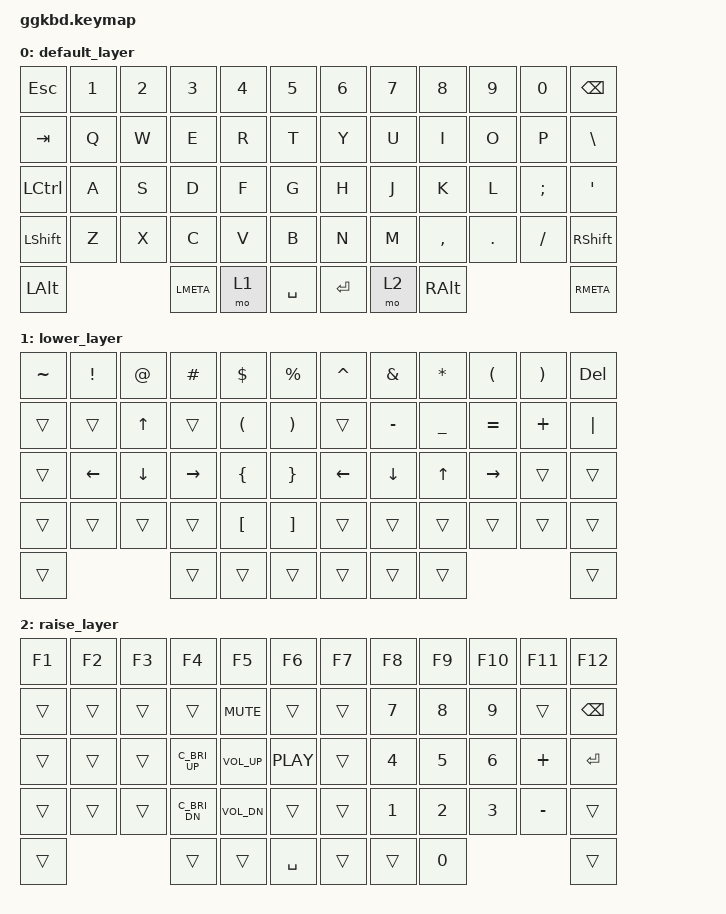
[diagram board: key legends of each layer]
#include <behaviors.dtsi>
#include <dt-bindings/zmk/keys.h>
#include <dt-bindings/zmk/bt.h>

/ {
    keymap {
        compatible = "zmk,keymap";

        default_layer {
            // -------------------------------------------------------------------------------------------------------------------------
            // |   ESC   |    1    |    2    |    3    |    4    |    5    |    6    |    7    |    8    |    9    |    0    |   BSPC  |
            // |   TAB   |    Q    |    W    |    E    |    R    |    T    |    Y    |    U    |    I    |    O    |    P    |    \    |
            // |  CTRL   |    A    |    S    |    D    |    F    |    G    |    H    |    J    |    K    |    L    |    ;    |    '    |
            // |  SHIFT  |    Z    |    X    |    C    |    V    |    B    |    N    |    M    |    ,    |    .    |    /    |  SHIFT  |
            // |   ALT   |                   |  SUPER  |  DOWN   |   SPC   |   RET   |   UP    |   ALT   |                   |  SUPER  |
            bindings = <
                &kp ESC   &kp N1    &kp N2    &kp N3    &kp N4    &kp N5    &kp N6    &kp N7    &kp N8    &kp N9    &kp N0    &kp BSPC
                &kp TAB   &kp Q     &kp W     &kp E     &kp R     &kp T     &kp Y     &kp U     &kp I     &kp O     &kp P     &kp BSLH
                &kp LCTRL &kp A     &kp S     &kp D     &kp F     &kp G     &kp H     &kp J     &kp K     &kp L     &kp SEMI  &kp APOS
                &kp LSHFT &kp Z     &kp X     &kp C     &kp V     &kp B     &kp N     &kp M     &kp COMMA &kp DOT   &kp FSLH  &kp RSHFT
                &kp LALT                      &kp LMETA &mo 1     &kp SPACE &kp RET   &mo 2     &kp RALT                      &kp RMETA
            >;
        };

        lower_layer {
            // -------------------------------------------------------------------------------------------------------------------------
            // |    ~    |    !    |    @    |    #    |    $    |    %    |    ^    |    &    |    *    |    (    |    )    |   DEL   |
            // |         |         |   UP    |         |    (    |    )    |         |    -    |    _    |    =    |    +    |    |    |
            // |         |  LEFT   |  DOWN   |  RIGHT  |    {    |    }    |  LEFT   |  DOWN   |   UP    |  RIGHT  |         |         |
            // |         |         |         |         |    [    |    ]    |         |         |         |         |         |         |
            // |         |                   |         |         |         |         |         |         |                   |         |
            bindings = <
                &kp TILDE &kp EXCL  &kp AT    &kp HASH  &kp DLLR  &kp PRCNT &kp CARET &kp AMPS  &kp ASTRK &kp LPAR  &kp RPAR  &kp DEL
                &trans    &trans    &kp UP    &trans    &kp LPAR  &kp RPAR  &trans    &kp MINUS &kp UNDER &kp EQUAL &kp PLUS  &kp PIPE
                &trans    &kp LEFT  &kp DOWN  &kp RIGHT &kp LBRC  &kp RBRC  &kp LEFT  &kp DOWN  &kp UP    &kp RIGHT &trans    &trans
                &trans    &trans    &trans    &trans    &kp LBKT  &kp RBKT  &trans    &trans    &trans    &trans    &trans    &trans
                &trans                        &trans    &trans    &trans    &trans    &trans    &trans                        &trans
            >;
        };

        raise_layer {
            // -------------------------------------------------------------------------------------------------------------------------
            // |   F1    |   F2    |   F3    |   F4    |   F5    |   F6    |   F7    |   F8    |   F9    |   F10   |   F11   |   F12   |
            // |         |         |         |         |   MUT   |         |         |    7    |    8    |    9    |         |   BSPC  |
            // |         |         |         | BRIGHT+ |  VOL+   | PLY/PAU |    =    |    4    |    5    |    6    |    +    |   RET   |
            // |         |         |         | BRIGHT- |  VOL-   |         |    _    |    1    |    2    |    3    |    -    |         |
            // |         |                   |         |         |   SPC   |         |         |    0    |                   |         |
            bindings = <
                &kp F1    &kp F2    &kp F3    &kp F4    &kp F5       &kp F6     &kp F7    &kp F8    &kp F9    &kp F10   &kp F11   &kp F12
                &trans    &trans    &trans    &trans    &kp C_MUTE   &trans     &trans    &kp N7    &kp N8    &kp N9    &trans    &kp BSPC
                &trans    &trans    &trans    &C_BRI_UP &kp C_VOL_UP &kp C_PLAY &trans    &kp N4    &kp N5    &kp N6    &kp PLUS  &kp RET
                &trans    &trans    &trans    &C_BRI_DN &kp C_VOL_DN &trans     &trans    &kp N1    &kp N2    &kp N3    &kp MINUS &trans
                &trans                        &trans    &trans       &kp SPACE  &trans    &trans    &kp N0                        &trans
            >;
        };
    };
 };
